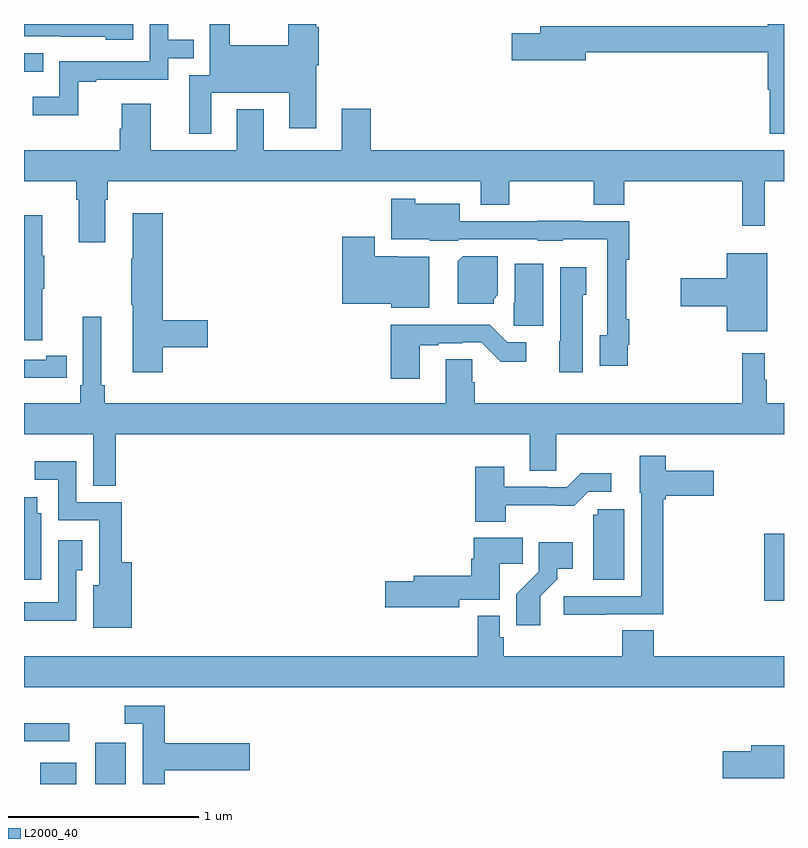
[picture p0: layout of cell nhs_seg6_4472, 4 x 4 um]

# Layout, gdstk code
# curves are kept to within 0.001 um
import gdstk
lib = gdstk.Library(unit=1e-6, precision=1e-09)
def R(c, l, rs):  # rectangles x0, y0, x1, y1
    for r in rs: c.add(gdstk.rectangle(r[:2], r[2:], *l))
def P(c, l, *ps):  # polygons
    for p in ps: c.add(gdstk.Polygon(p, *l))
L2000_40 = (2000, 40)

nhs_seg6_4472 = lib.new_cell('nhs_seg6_4472')
R(nhs_seg6_4472, L2000_40, [(375.086,941.5,375.274,941.611), (375.374,941.5,375.535,941.716), (375,941.724,375.238,941.82), (378.896,942.465,379,942.817), (375,945.248,375.101,945.345)])
P(nhs_seg6_4472, L2000_40, [(375.285,945.195),(375.379,945.195),(375.379,945.207),(375.759,945.207),(375.759,945.321),(375.893,945.321),(375.893,945.417),(375.759,945.417),(375.759,945.5),(375.663,945.5),(375.663,945.303),(375.186,945.303),(375.186,945.118),(375.045,945.118),(375.045,945.02),(375.285,945.02)],
  [(375.574,945.5),(375,945.5),(375,945.435),(375.193,945.435),(375.193,945.434),(375.429,945.434),(375.429,945.416),(375.574,945.416)],
  [(379,945.5),(378.914,945.5),(378.914,945.488),(377.717,945.488),(377.717,945.452),(377.568,945.452),(377.568,945.31),(377.956,945.31),(377.956,945.352),(378.914,945.352),(378.914,945.155),(378.926,945.155),(378.926,944.922),(379,944.922)],
  [(375.985,945.137),(376.397,945.137),(376.397,944.952),(376.537,944.952),(376.537,945.284),(376.55,945.284),(376.55,945.484),(376.537,945.484),(376.537,945.5),(376.39,945.5),(376.39,945.388),(376.083,945.388),(376.083,945.5),(375.978,945.5),(375.978,945.231),(375.869,945.231),(375.869,944.922),(375.985,944.922)],
  [(375.427,944.576),(375.44,944.576),(375.44,944.672),(377.405,944.672),(377.405,944.548),(377.553,944.548),(377.553,944.672),(377.998,944.672),(377.998,944.548),(378.158,944.548),(378.158,944.672),(378.781,944.672),(378.781,944.439),(378.899,944.439),(378.899,944.672),(379,944.672),(379,944.836),(376.826,944.836),(376.826,945.055),(376.673,945.055),(376.673,944.836),(376.261,944.836),(376.261,945.052),(376.121,945.052),(376.121,944.836),(375.667,944.836),(375.667,945.079),(375.515,945.079),(375.515,944.949),(375.503,944.949),(375.503,944.836),(375,944.836),(375,944.672),(375.275,944.672),(375.275,944.576),(375.287,944.576),(375.287,944.352),(375.427,944.352)],
  [(378.178,943.813),(378.185,943.813),(378.185,943.945),(378.17,943.945),(378.17,944.26),(378.185,944.26),(378.185,944.463),(377.935,944.463),(377.935,944.465),(377.703,944.465),(377.703,944.463),(377.293,944.463),(377.293,944.554),(377.058,944.554),(377.058,944.581),(376.934,944.581),(376.934,944.366),(377.136,944.366),(377.136,944.36),(377.286,944.36),(377.286,944.367),(377.703,944.367),(377.703,944.36),(377.835,944.36),(377.835,944.366),(378.069,944.366),(378.069,943.862),(378.029,943.862),(378.029,943.701),(378.178,943.701)],
  [(375.731,943.798),(375.967,943.798),(375.967,943.94),(375.731,943.94),(375.731,944.503),(375.572,944.503),(375.572,944.264),(375.565,944.264),(375.565,944.023),(375.572,944.023),(375.572,943.668),(375.731,943.668)],
  [(375.095,944.107),(375.106,944.107),(375.106,944.281),(375.095,944.281),(375.095,944.494),(375,944.494),(375,943.836),(375.095,943.836)],
  [(377.134,944.276),(376.968,944.276),(376.968,944.278),(376.846,944.278),(376.846,944.38),(376.676,944.38),(376.676,944.027),(376.932,944.027),(376.932,944.006),(377.134,944.006)],
  [(378.913,944.293),(378.698,944.293),(378.698,944.162),(378.456,944.162),(378.456,944.015),(378.698,944.015),(378.698,943.883),(378.913,943.883)],
  [(377.472,944.052),(377.494,944.074),(377.494,944.278),(377.308,944.278),(377.282,944.252),(377.282,944.027),(377.472,944.027)],
  [(377.734,944.239),(377.582,944.239),(377.582,944.034),(377.578,944.034),(377.578,943.911),(377.734,943.911)],
  [(377.941,944.076),(377.959,944.076),(377.959,944.221),(377.822,944.221),(377.822,943.83),(377.816,943.83),(377.816,943.668),(377.941,943.668)],
  [(375.484,943.34),(377.663,943.34),(377.663,943.15),(377.802,943.15),(377.802,943.34),(379,943.34),(379,943.504),(378.91,943.504),(378.91,943.628),(378.898,943.628),(378.898,943.768),(378.781,943.768),(378.781,943.504),(377.372,943.504),(377.372,943.614),(377.358,943.614),(377.358,943.736),(377.219,943.736),(377.219,943.504),(375.425,943.504),(375.425,943.6),(375.406,943.6),(375.406,943.96),(375.309,943.96),(375.309,943.6),(375.296,943.6),(375.296,943.504),(375,943.504),(375,943.34),(375.365,943.34),(375.365,943.069),(375.484,943.069)],
  [(377.083,943.809),(377.179,943.809),(377.179,943.821),(377.306,943.821),(377.306,943.824),(377.406,943.824),(377.509,943.722),(377.644,943.722),(377.644,943.824),(377.544,943.824),(377.45,943.918),(376.931,943.918),(376.931,943.632),(377.083,943.632)],
  [(375.116,943.638),(375.224,943.638),(375.224,943.754),(375.116,943.754),(375.116,943.734),(375,943.734),(375,943.637),(375.116,943.637)],
  [(378.065,942.393),(378.365,942.393),(378.365,942.998),(378.378,942.998),(378.378,943.016),(378.631,943.016),(378.631,943.15),(378.378,943.15),(378.378,943.228),(378.242,943.228),(378.242,943.032),(378.249,943.032),(378.249,942.489),(377.841,942.489),(377.841,942.391),(378.065,942.391)],
  [(375.566,942.667),(375.514,942.667),(375.514,942.984),(375.276,942.984),(375.276,943.198),(375.057,943.198),(375.057,943.101),(375.18,943.101),(375.18,942.888),(375.395,942.888),(375.395,942.547),(375.365,942.547),(375.365,942.323),(375.566,942.323)],
  [(377.535,942.966),(377.897,942.965),(377.97,943.038),(378.091,943.038),(378.091,943.135),(377.929,943.135),(377.856,943.062),(377.756,943.062),(377.756,943.065),(377.527,943.065),(377.527,943.171),(377.375,943.171),(377.375,942.881),(377.535,942.881)],
  [(375.091,942.924),(375.07,942.924),(375.07,943.009),(375,943.009),(375,942.576),(375.091,942.576)],
  [(378.16,942.945),(378.021,942.945),(378.021,942.918),(377.996,942.918),(377.996,942.574),(378.16,942.574)],
  [(377.29,942.47),(377.503,942.47),(377.503,942.658),(377.624,942.658),(377.624,942.796),(377.366,942.796),(377.366,942.686),(377.354,942.686),(377.354,942.596),(377.051,942.596),(377.051,942.566),(376.902,942.566),(376.902,942.431),(377.29,942.431)],
  [(375.276,942.625),(375.307,942.625),(375.307,942.784),(375.18,942.784),(375.18,942.456),(375,942.456),(375,942.36),(375.055,942.36),(375.055,942.359),(375.276,942.359)],
  [(377.716,942.487),(377.806,942.577),(377.806,942.632),(377.887,942.632),(377.887,942.772),(377.709,942.772),(377.709,942.617),(377.59,942.498),(377.59,942.336),(377.716,942.336)],
  [(379,942.172),(378.314,942.172),(378.314,942.308),(378.149,942.308),(378.149,942.172),(377.525,942.172),(377.525,942.273),(377.505,942.273),(377.505,942.385),(377.389,942.385),(377.389,942.172),(375,942.172),(375,942.008),(379,942.008)],
  [(375.74,941.573),(376.189,941.573),(376.189,941.715),(375.74,941.715),(375.74,941.913),(375.531,941.913),(375.531,941.817),(375.624,941.817),(375.624,941.5),(375.74,941.5)],
  [(379,941.703),(378.827,941.703),(378.827,941.673),(378.678,941.673),(378.678,941.531),(379,941.531)])

lib.write_gds('nhs_seg6_4472.gds')
